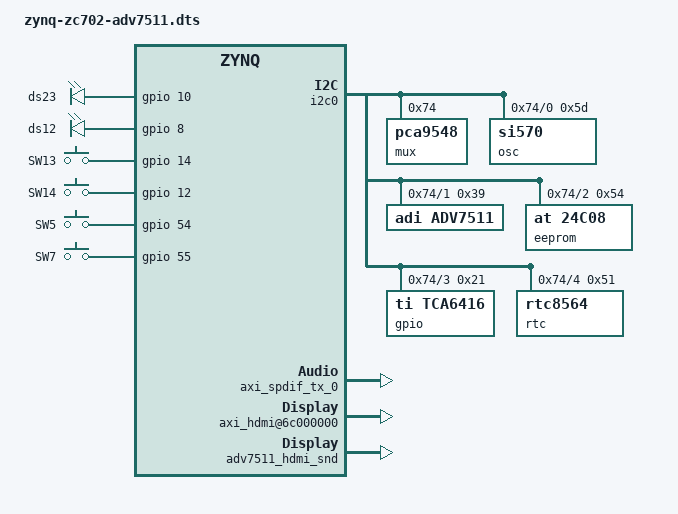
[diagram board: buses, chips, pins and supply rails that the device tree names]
/dts-v1/;

/include/ "zynq-zc702.dtsi"

/ {
	fpga_axi: fpga-axi@0 {
		compatible = "simple-bus";
		#address-cells = <0x1>;
		#size-cells = <0x1>;
		ranges;

		i2c0: i2c@0 {
			compatible = "xlnx,ps7-i2c-1.00.a";
			reg = <0xe0004000 0x1000>;
			interrupts = <0 25 4>;
			interrupt-parent = <&gic>;
			bus-id = <0>;
			input-clk = <111111111>;
			i2c-clk = <100000>;
			#address-cells = <1>;
			#size-cells = <0>;

			mux@74 {
				compatible = "pca9548";
				reg = <0x74>;
				#address-cells = <1>;
				#size-cells = <0>;

				i2c@0 {
					#address-cells = <1>;
					#size-cells = <0>;
					reg = <0>;
					osc@5d {
						compatible = "si570";
						reg = <0x5d>;
						factory-fout = <156250000>;
						initial-fout = <148500000>;
					};
				};

				i2c_adv7511: i2c@1 {
					#size-cells = <0>;
					#address-cells = <1>;
					reg = <1>;

					adv7511: adv7511@39 {
						compatible = "adi,adv7511";
						reg = <0x39>;

						adi,input-style = <0x02>;
						adi,input-id = <0x01>;
						adi,input-color-depth = <0x3>;
						adi,sync-pulse = <0x03>;
						adi,bit-justification = <0x01>;
						adi,up-conversion = <0x00>;
						adi,timing-generation-sequence = <0x00>;
						adi,vsync-polarity = <0x02>;
						adi,hsync-polarity = <0x02>;
						adi,tdms-clock-inversion;
						adi,clock-delay = <0x03>;
					};
				};

				i2c@2 {
					#address-cells = <1>;
					#size-cells = <0>;
					reg = <2>;
					eeprom@54 {
						compatible = "at,24c08";
						reg = <0x54>;
					};
				};

				i2c@3 {
					#address-cells = <1>;
					#size-cells = <0>;
					reg = <3>;
					gpio@21 {
						compatible = "ti,tca6416";
						reg = <0x21>;
						gpio-controller;
						#gpio-cells = <2>;
					};
				};

				i2c@4 {
					#size-cells = <0>;
					#address-cells = <1>;
					reg = <4>;
					rtc@51 {
						compatible = "rtc8564";
						reg = <0x51>;
					};
				};

/* leads to "i2c i2c-0: sendbytes: NAK bailout." messages
				i2c@7 {
					#address-cells = <1>;
					#size-cells = <0>;
					reg = <7>;
					hwmon@52{
						compatible = "pmbus,ucd9248";
						reg = <52>;
					};
					hwmon@53{
						compatible = "pmbus,ucd9248";
						reg = <53>;
					};
					hwmon@54{
						compatible = "pmbus,ucd9248";
						reg = <54>;
					};
				};
*/
			};

		};

		axi_dma_0: axidma@40400000 {
			#address-cells = <1>;
			#size-cells = <1>;
			#dma-cells = <1>;
			compatible = "xlnx,axi-dma";
			reg = < 0x40400000 0x1000 >;
			xlnx,sg-include-stscntrl-strm = <0x0>;
			dma-channel@40400000 {
				compatible = "xlnx,axi-dma-mm2s-channel";
				interrupts = < 0 58 0x4 >;
				xlnx,datawidth = <0x20>;
				xlnx,include-dre = <0x0>;
			};
		};

		axi_spdif_tx_0: axi-spdif-tx@0x75c00000 {
			compatible = "adi,axi-spdif-tx-1.00.a";
			reg = < 0x75c00000 0x1000 >;
			clock-frequency = <12288000>;
		};

		axi_vdma_0: axivdma@43000000 {
			#address-cells = <1>;
			#size-cells = <1>;
			#dma-cells = <1>;
			compatible = "xlnx,axi-vdma";
			reg = <0x43000000 0x1000>;
			xlnx,include-sg = <0x0>;
			xlnx,num-fstores = <0x3>;
			dma-channel@7e200000 {
				compatible = "xlnx,axi-vdma-mm2s-channel";
				interrupts = <0 59 0x4>;
				xlnx,datawidth = <0x40>;
				xlnx,genlock-mode = <0x0>;
				xlnx,include-dre = <0x0>;
			};
		};

		fpga_clock: fpga_clock {
			compatible = "fixed-clock";
			#clock-cells = <0>;
			clock-frequency  = <200000000>;
		};

		hdmi_clock: axi-clkgen@66000000 {
			compatible = "adi,axi-clkgen-1.00.a";
			reg = <0x66000000 0x10000>;
			#clock-cells = <0>;
			clocks = <&fpga_clock>;
		};

		axi_hdmi@6c000000 {
			compatible = "adi,axi-hdmi-1.00.a";
			reg = <0x6c000000 0x10000>;
			encoder-slave = <&adv7511>;
			dma-request = <&axi_vdma_0 0>;
			clocks = <&hdmi_clock>;
		};

		xilinx_pcm_audio: xilinx_pcm_audio {
			compatible = "xilinx-pcm-audio";
			dma-request = <&axi_dma_0 0>;
		};

		adv7511_hdmi_snd: adv7511_hdmi_snd {
			compatible = "adv7511-hdmi-snd";
			audio-codec-adapter = <&i2c_adv7511>;
			cpu-dai = <&axi_spdif_tx_0>;
			pcm = <&xilinx_pcm_audio>;
		};

		leds {
			compatible = "gpio-leds";
			ds23 {
				label = "ds23";
				gpios = <&gpio 10 0>;
				linux,default-trigger = "heartbeat";
			};
			ds12 {
				label = "ds12";
				gpios = <&gpio 8 0>;
				linux,default-trigger = "mmc0";
			};
		};

		gpio_keys {
			compatible = "gpio-keys";
			#address-cells = <1>;
			#size-cells = <0>;
			autorepeat;
			sw13 {
				label = "SW13";
				linux,code = <49>; /* "N" */
				gpios = <&gpio 14 0>;
			};
			sw14 {
				label = "SW14";
				linux,code = <31>; /* "S" */
				gpios = <&gpio 12 0>;
			};
			sw5 {
				label = "SW5";
				linux,code = <106>; // Right
				gpios = <&gpio 54 0>;
			};
			sw7 {
				label = "SW7";
				linux,code = <105>; // Left
				gpios = <&gpio 55 0>;
			};
		};
	};
};

